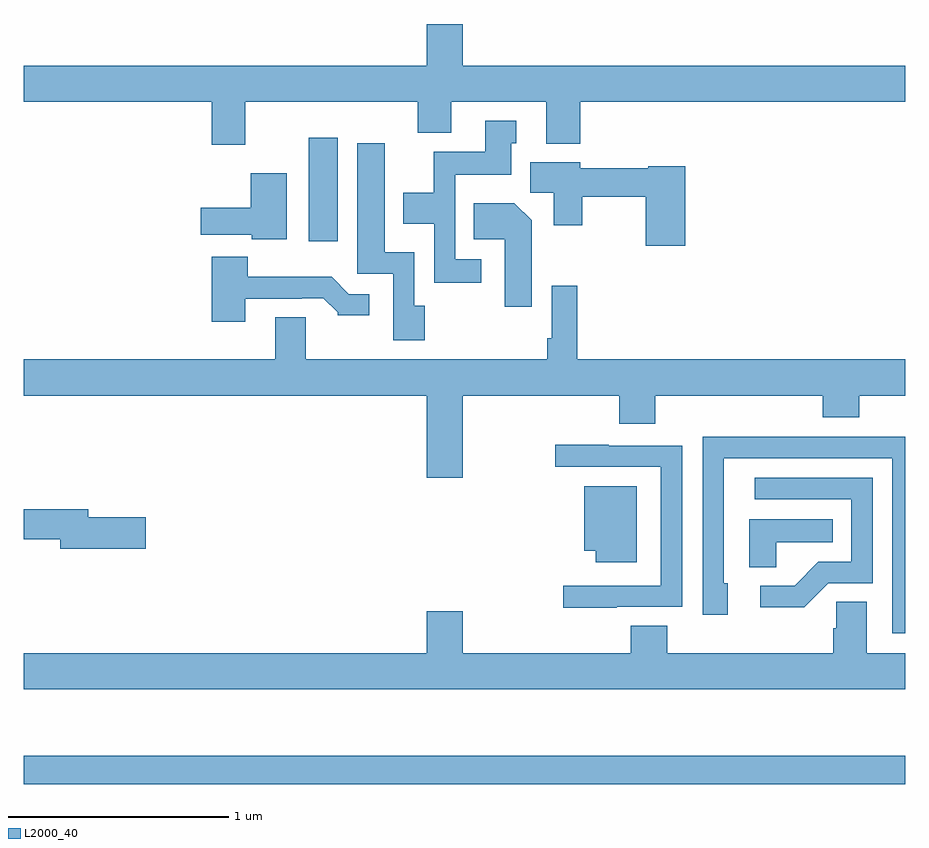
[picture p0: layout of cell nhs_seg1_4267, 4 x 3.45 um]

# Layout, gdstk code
import gdstk
lib = gdstk.Library(unit=1e-6, precision=1e-09)
def R(c, l, rs):  # rectangles x0, y0, x1, y1
    for r in rs: c.add(gdstk.rectangle(r[:2], r[2:], *l))
def P(c, l, *ps):  # polygons
    for p in ps: c.add(gdstk.Polygon(p, *l))
L2000_40 = (2000, 40)

nhs_seg1_4267 = lib.new_cell('nhs_seg1_4267')
R(nhs_seg1_4267, L2000_40, [(343,544.642,347,544.771), (344.294,547.104,344.425,547.573)])
P(nhs_seg1_4267, L2000_40, [(344.005,547.736),(344.789,547.736),(344.789,547.595),(344.941,547.595),(344.941,547.736),(345.371,547.736),(345.371,547.547),(345.524,547.547),(345.524,547.736),(347,547.736),(347,547.9),(344.992,547.9),(344.992,548.089),(344.828,548.089),(344.828,547.9),(343,547.9),(343,547.736),(343.853,547.736),(343.853,547.542),(344.005,547.542)],
  [(345.076,547.023),(344.958,547.023),(344.958,547.406),(345.211,547.406),(345.211,547.548),(345.235,547.548),(345.235,547.651),(345.095,547.651),(345.095,547.51),(344.86,547.51),(344.86,547.324),(344.723,547.324),(344.723,547.184),(344.862,547.184),(344.862,546.915),(345.076,546.915)],
  [(344.82,546.81),(344.772,546.81),(344.772,547.054),(344.638,547.054),(344.638,547.549),(344.513,547.549),(344.513,546.957),(344.676,546.957),(344.676,546.654),(344.82,546.654)],
  [(346.001,547.443),(345.834,547.443),(345.834,547.435),(345.526,547.435),(345.526,547.462),(345.299,547.462),(345.299,547.324),(345.404,547.324),(345.404,547.176),(345.534,547.176),(345.534,547.306),(345.823,547.306),(345.823,547.083),(346.001,547.083)],
  [(344.194,547.411),(344.03,547.411),(344.03,547.255),(343.803,547.255),(343.803,547.133),(344.034,547.133),(344.034,547.112),(344.194,547.112)],
  [(345.304,547.198),(345.226,547.276),(345.043,547.276),(345.043,547.112),(345.182,547.112),(345.182,546.807),(345.304,546.807)],
  [(344.005,546.843),(344.261,546.843),(344.261,546.846),(344.36,546.846),(344.424,546.782),(344.424,546.767),(344.569,546.767),(344.569,546.864),(344.475,546.864),(344.397,546.943),(344.018,546.943),(344.018,547.033),(343.853,547.033),(343.853,546.738),(344.005,546.738)],
  [(344.992,546.404),(345.701,546.404),(345.701,546.276),(345.866,546.276),(345.866,546.404),(346.625,546.404),(346.625,546.305),(346.79,546.305),(346.79,546.404),(347,546.404),(347,546.568),(345.512,546.568),(345.512,546.901),(345.396,546.901),(345.396,546.664),(345.376,546.664),(345.376,546.568),(344.281,546.568),(344.281,546.758),(344.141,546.758),(344.141,546.568),(343,546.568),(343,546.404),(344.828,546.404),(344.828,546.03),(344.992,546.03)],
  [(347,546.216),(346.541,546.216),(346.541,546.218),(346.08,546.218),(346.08,545.409),(346.195,545.409),(346.195,545.553),(346.176,545.553),(346.176,546.12),(346.941,546.12),(346.941,545.325),(347,545.325)],
  [(345.691,545.445),(345.987,545.445),(345.987,546.177),(345.655,546.177),(345.655,546.181),(345.411,546.181),(345.411,546.081),(345.891,546.081),(345.891,545.541),(345.447,545.541),(345.447,545.441),(345.691,545.441)],
  [(346.65,545.553),(346.851,545.553),(346.851,546.03),(346.317,546.03),(346.317,545.934),(346.755,545.934),(346.755,545.649),(346.605,545.649),(346.497,545.541),(346.341,545.541),(346.341,545.444),(346.54,545.444)],
  [(345.781,545.992),(345.542,545.992),(345.542,545.699),(345.596,545.699),(345.596,545.648),(345.781,545.648)],
  [(343.555,545.852),(343.294,545.852),(343.294,545.888),(343,545.888),(343,545.752),(343.166,545.752),(343.166,545.71),(343.555,545.71)],
  [(346.414,545.738),(346.67,545.738),(346.67,545.842),(346.292,545.842),(346.292,545.626),(346.414,545.626)],
  [(347,545.236),(346.825,545.236),(346.825,545.468),(346.687,545.468),(346.687,545.348),(346.673,545.348),(346.673,545.236),(345.92,545.236),(345.92,545.36),(345.755,545.36),(345.755,545.236),(344.992,545.236),(344.992,545.425),(344.828,545.425),(344.828,545.236),(343,545.236),(343,545.072),(347,545.072)])

lib.write_gds('nhs_seg1_4267.gds')
